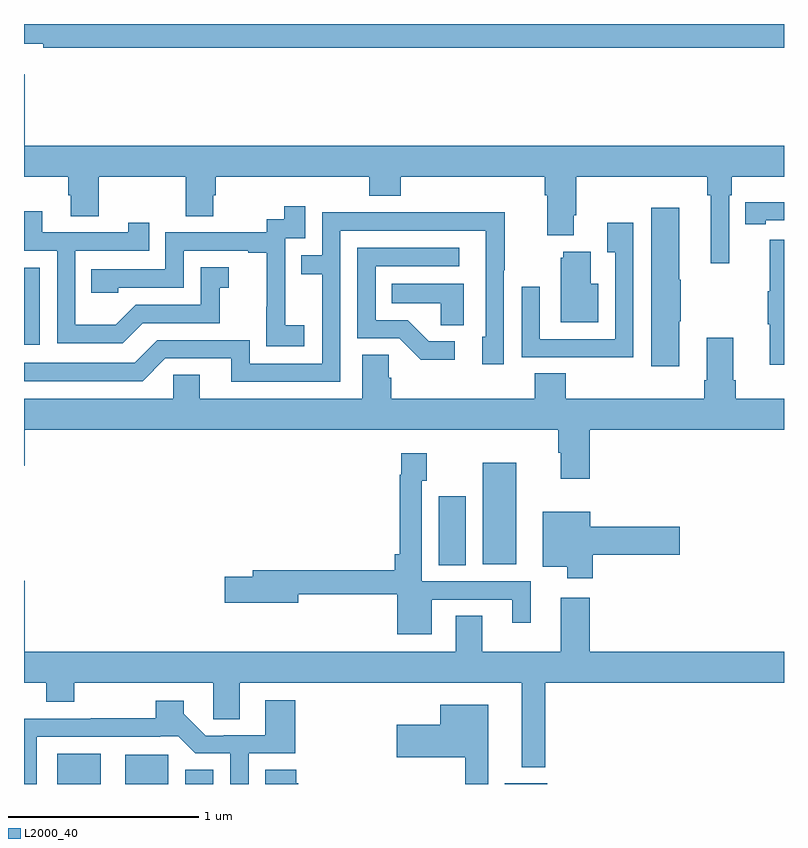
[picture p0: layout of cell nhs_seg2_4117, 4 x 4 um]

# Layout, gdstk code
import gdstk
lib = gdstk.Library(unit=1e-6, precision=1e-09)
def R(c, l, rs):  # rectangles x0, y0, x1, y1
    for r in rs: c.add(gdstk.rectangle(r[:2], r[2:], *l))
def P(c, l, *ps):  # polygons
    for p in ps: c.add(gdstk.Polygon(p, *l))
L2000_40 = (2000, 40)

nhs_seg2_4117 = lib.new_cell('nhs_seg2_4117')
R(nhs_seg2_4117, L2000_40, [(333.176,617.8,333.403,617.959), (333.533,617.8,333.76,617.953), (333.848,617.8,333.997,617.876), (335.531,617.8,335.754,617.803), (335.183,618.952,335.326,619.315), (335.414,618.956,335.59,619.492), (333,620.112,333.084,620.517)])
P(nhs_seg2_4117, L2000_40, [(337,621.8),(333,621.8),(333,621.695),(333.1,621.695),(333.1,621.676),(337,621.676)],
  [(333.004,621.535),(333,621.535),(333,620.996),(333.233,620.996),(333.233,620.898),(333.245,620.898),(333.245,620.788),(333.393,620.788),(333.393,620.996),(333.85,620.996),(333.85,620.788),(333.997,620.788),(333.997,620.898),(334.01,620.898),(334.01,620.996),(334.817,620.996),(334.817,620.897),(334.982,620.897),(334.982,620.996),(335.741,620.996),(335.741,620.9),(335.753,620.9),(335.753,620.687),(335.893,620.687),(335.893,620.794),(335.906,620.794),(335.906,620.996),(336.595,620.996),(336.595,620.9),(336.614,620.9),(336.614,620.541),(336.711,620.541),(336.711,620.9),(336.725,620.9),(336.725,620.996),(337,620.996),(337,621.16),(333.004,621.16)],
  [(336.904,620.766),(337,620.766),(337,620.863),(336.904,620.863),(336.904,620.862),(336.796,620.862),(336.796,620.746),(336.904,620.746)],
  [(334.474,620.215),(334.376,620.215),(334.376,620.444),(334.374,620.444),(334.374,620.673),(334.479,620.673),(334.479,620.842),(334.371,620.842),(334.371,620.772),(334.278,620.772),(334.278,620.703),(333.744,620.703),(333.744,620.508),(333.355,620.508),(333.355,620.385),(333.495,620.385),(333.495,620.412),(333.84,620.412),(333.84,620.607),(334.181,620.607),(334.181,620.595),(334.277,620.595),(334.277,620.311),(334.276,620.311),(334.276,620.105),(334.474,620.105)],
  [(336.448,620.236),(336.456,620.236),(336.456,620.453),(336.448,620.453),(336.448,620.833),(336.302,620.833),(336.302,619.998),(336.448,619.998)],
  [(333.625,620.226),(334.029,620.226),(334.029,620.411),(334.078,620.411),(334.078,620.521),(333.93,620.521),(333.93,620.322),(333.588,620.322),(333.484,620.218),(333.27,620.218),(333.27,620.607),(333.659,620.607),(333.659,620.755),(333.548,620.755),(333.548,620.703),(333.097,620.703),(333.097,620.815),(333,620.815),(333,620.607),(333.174,620.607),(333.174,620.121),(333.52,620.121)],
  [(334.665,620.712),(335.43,620.712),(335.43,620.154),(335.411,620.154),(335.411,620.01),(335.526,620.01),(335.526,620.503),(335.529,620.503),(335.529,620.81),(335.065,620.81),(335.065,620.808),(334.569,620.808),(334.569,620.583),(334.459,620.583),(334.459,620.482),(334.569,620.482),(334.569,620.013),(334.188,620.013),(334.188,620.136),(333.702,620.136),(333.582,620.016),(333,620.016),(333,619.92),(333.624,619.92),(333.744,620.04),(334.091,620.04),(334.091,619.917),(334.665,619.917)],
  [(336.207,620.755),(336.071,620.755),(336.071,620.599),(336.111,620.599),(336.111,620.142),(335.715,620.142),(335.715,620.416),(335.619,620.416),(335.619,620.046),(335.935,620.046),(335.935,620.045),(336.207,620.045)],
  [(337,620.665),(336.926,620.665),(336.926,620.393),(336.915,620.393),(336.915,620.219),(336.926,620.219),(336.926,620.007),(337,620.007)],
  [(335.266,620.13),(335.131,620.13),(335.02,620.241),(334.851,620.241),(334.851,620.526),(335.29,620.526),(335.29,620.622),(334.755,620.622),(334.755,620.145),(334.974,620.145),(335.087,620.033),(335.266,620.033)],
  [(336.022,620.434),(335.983,620.434),(335.983,620.602),(335.837,620.602),(335.837,620.571),(335.825,620.571),(335.825,620.231),(336.022,620.231)],
  [(335.314,620.434),(334.936,620.434),(334.936,620.33),(335.193,620.33),(335.193,620.215),(335.314,620.215)],
  [(334.92,619.937),(334.92,620.06),(334.781,620.06),(334.781,619.828),(333.925,619.828),(333.925,619.955),(333.786,619.955),(333.786,619.828),(333,619.828),(333,619.476),(333.004,619.476),(333.004,619.664),(335.813,619.664),(335.813,619.544),(335.825,619.544),(335.825,619.407),(335.978,619.407),(335.978,619.664),(337,619.664),(337,619.828),(336.746,619.828),(336.746,619.924),(336.733,619.924),(336.733,620.149),(336.593,620.149),(336.593,619.924),(336.581,619.924),(336.581,619.828),(335.852,619.828),(335.852,619.961),(335.687,619.961),(335.687,619.828),(334.934,619.828),(334.934,619.937)],
  [(335.146,618.771),(335.57,618.771),(335.57,618.648),(335.668,618.648),(335.668,618.867),(335.094,618.867),(335.094,619.395),(335.121,619.395),(335.121,619.54),(334.986,619.54),(334.986,619.427),(334.978,619.427),(334.978,619.009),(334.952,619.009),(334.952,618.926),(334.205,618.926),(334.205,618.89),(334.056,618.89),(334.056,618.755),(334.444,618.755),(334.444,618.798),(334.964,618.798),(334.964,618.587),(335.146,618.587)],
  [(335.993,619.007),(336.451,619.007),(336.451,619.154),(335.98,619.154),(335.98,619.234),(335.729,619.234),(335.729,618.944),(335.858,618.944),(335.858,618.882),(335.993,618.882)],
  [(335.743,618.332),(337,618.332),(337,618.496),(335.978,618.496),(335.978,618.781),(335.825,618.781),(335.825,618.496),(335.413,618.496),(335.413,618.686),(335.273,618.686),(335.273,618.496),(333.004,618.496),(333.004,618.871),(333,618.871),(333,618.332),(333.116,618.332),(333.116,618.233),(333.264,618.233),(333.264,618.332),(333.996,618.332),(333.996,618.142),(334.135,618.142),(334.135,618.332),(335.621,618.332),(335.621,617.888),(335.743,617.888)],
  [(333.066,618.048),(333.716,618.048),(333.716,618.051),(333.812,618.051),(333.902,617.961),(334.086,617.961),(334.086,617.8),(334.182,617.8),(334.182,617.961),(334.427,617.961),(334.427,618.241),(334.271,618.241),(334.271,618.057),(334.051,618.057),(334.051,618.054),(333.957,618.054),(333.841,618.17),(333.841,618.238),(333.694,618.238),(333.694,618.146),(333.352,618.146),(333.352,618.144),(333,618.144),(333,617.8),(333.066,617.8)],
  [(335.443,618.217),(335.192,618.217),(335.192,618.112),(334.962,618.112),(334.962,617.942),(335.322,617.942),(335.322,617.8),(335.443,617.8)],
  [(334.444,617.805),(334.432,617.805),(334.432,617.876),(334.271,617.876),(334.271,617.8),(334.444,617.8)])

lib.write_gds('nhs_seg2_4117.gds')
